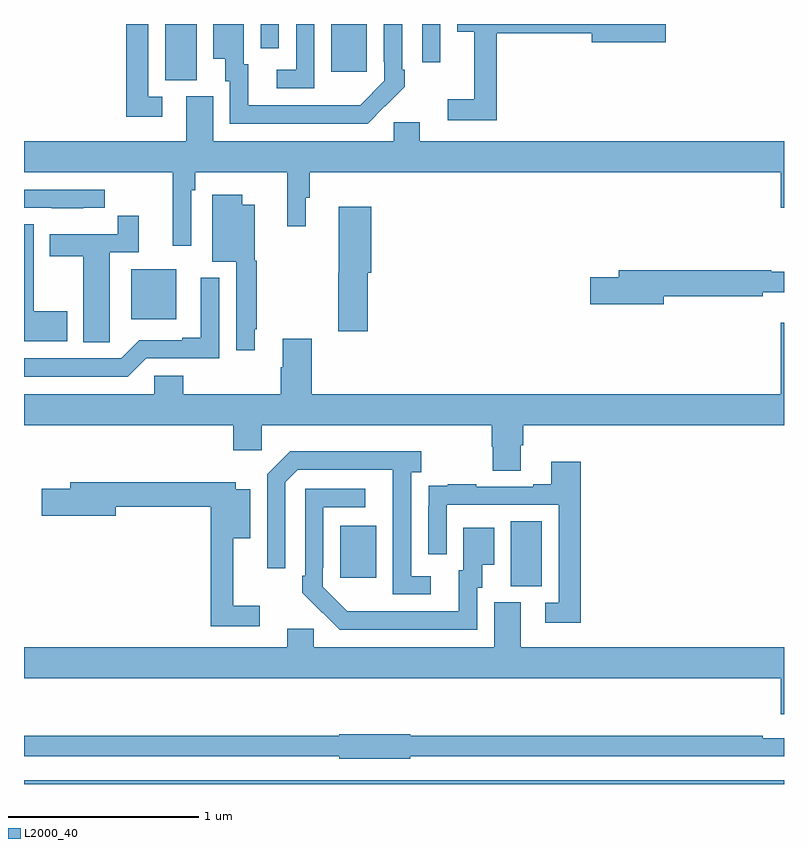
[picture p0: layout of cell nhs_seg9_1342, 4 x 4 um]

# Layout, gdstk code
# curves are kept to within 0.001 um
import gdstk
lib = gdstk.Library(unit=1e-6, precision=1e-09)
def R(c, l, rs):  # rectangles x0, y0, x1, y1
    for r in rs: c.add(gdstk.rectangle(r[:2], r[2:], *l))
def P(c, l, *ps):  # polygons
    for p in ps: c.add(gdstk.Polygon(p, *l))
L2000_40 = (2000, 40)

nhs_seg9_1342 = lib.new_cell('nhs_seg9_1342')
R(nhs_seg9_1342, L2000_40, [(185,1226.5,189,1226.52), (187.562,1227.541,187.726,1227.884), (186.665,1227.585,186.853,1227.859), (185.564,1228.946,185.8,1229.209), (185.744,1230.205,185.908,1230.5), (186.617,1230.249,186.805,1230.5), (187.095,1230.3,187.191,1230.5), (186.246,1230.372,186.342,1230.5)])
P(nhs_seg9_1342, L2000_40, [(185.728,1230.117),(185.655,1230.117),(185.655,1230.5),(185.539,1230.5),(185.539,1230.012),(185.728,1230.012)],
  [(186.899,1230.067),(186.9,1230.066),(187.005,1230.171),(187.005,1230.259),(186.99,1230.259),(186.99,1230.5),(186.894,1230.5),(186.894,1230.301),(186.897,1230.301),(186.897,1230.201),(186.769,1230.073),(186.665,1230.072),(186.181,1230.072),(186.181,1230.288),(186.157,1230.288),(186.157,1230.5),(185.996,1230.5),(185.996,1230.317),(186.059,1230.317),(186.059,1230.198),(186.084,1230.198),(186.084,1229.976),(186.808,1229.976)],
  [(186.528,1230.5),(186.432,1230.5),(186.432,1230.258),(186.33,1230.258),(186.33,1230.162),(186.528,1230.162)],
  [(187.487,1230.451),(187.988,1230.451),(187.988,1230.404),(188.377,1230.404),(188.377,1230.5),(187.28,1230.5),(187.28,1230.458),(187.37,1230.458),(187.37,1230.103),(187.23,1230.103),(187.23,1229.994),(187.487,1229.994)],
  [(185.88,1229.624),(185.9,1229.624),(185.9,1229.72),(186.385,1229.72),(186.385,1229.436),(186.484,1229.436),(186.484,1229.586),(186.503,1229.586),(186.503,1229.72),(188.984,1229.72),(188.984,1229.532),(189,1229.532),(189,1229.884),(187.084,1229.884),(187.084,1229.982),(186.945,1229.982),(186.945,1229.884),(185.995,1229.884),(185.995,1230.12),(185.855,1230.12),(185.855,1229.884),(185,1229.884),(185,1229.72),(185.783,1229.72),(185.783,1229.334),(185.88,1229.334)],
  [(185.312,1229.532),(185.425,1229.532),(185.425,1229.628),(185,1229.628),(185,1229.532),(185.146,1229.532),(185.146,1229.531),(185.312,1229.531)],
  [(186.214,1228.894),(186.226,1228.894),(186.226,1229.253),(186.214,1229.253),(186.214,1229.548),(186.148,1229.548),(186.148,1229.602),(185.99,1229.602),(185.99,1229.249),(186.117,1229.249),(186.117,1228.782),(186.214,1228.782)],
  [(186.809,1229.19),(186.827,1229.19),(186.827,1229.539),(186.656,1229.539),(186.656,1229.19),(186.655,1229.19),(186.655,1228.884),(186.809,1228.884)],
  [(185.451,1228.936),(185.452,1228.936),(185.452,1229.298),(185.603,1229.298),(185.603,1229.491),(185.494,1229.491),(185.494,1229.394),(185.135,1229.394),(185.135,1229.278),(185.312,1229.278),(185.312,1228.825),(185.451,1228.825)],
  [(185.227,1228.989),(185.05,1228.989),(185.05,1229.447),(185,1229.447),(185,1228.829),(185.227,1228.829)],
  [(188.368,1229.068),(188.888,1229.068),(188.888,1229.087),(189,1229.087),(189,1229.197),(188.933,1229.197),(188.933,1229.204),(188.129,1229.204),(188.129,1229.168),(187.98,1229.168),(187.98,1229.026),(188.368,1229.026)],
  [(185.643,1228.74),(186.027,1228.74),(186.027,1229.164),(185.93,1229.164),(185.93,1228.849),(185.834,1228.849),(185.834,1228.836),(185.607,1228.836),(185.511,1228.74),(185,1228.74),(185,1228.644),(185.547,1228.644)],
  [(185.837,1228.65),(185.685,1228.65),(185.685,1228.552),(185,1228.552),(185,1228.388),(186.101,1228.388),(186.101,1228.257),(186.252,1228.257),(186.252,1228.388),(187.463,1228.388),(187.463,1228.275),(187.468,1228.275),(187.468,1228.15),(187.615,1228.15),(187.615,1228.282),(187.628,1228.282),(187.628,1228.388),(189,1228.388),(189,1228.927),(188.984,1228.927),(188.984,1228.552),(186.515,1228.552),(186.515,1228.843),(186.362,1228.843),(186.362,1228.694),(186.35,1228.694),(186.35,1228.552),(185.837,1228.552)],
  [(187.141,1227.594),(187.038,1227.594),(187.038,1228.142),(187.09,1228.142),(187.09,1228.252),(186.4,1228.252),(186.279,1228.131),(186.279,1227.636),(186.375,1227.636),(186.375,1228.089),(186.441,1228.155),(186.941,1228.155),(186.942,1227.498),(187.141,1227.498)],
  [(187.931,1228.195),(187.775,1228.195),(187.775,1228.078),(187.679,1228.078),(187.679,1228.065),(187.379,1228.065),(187.379,1228.078),(187.231,1228.078),(187.231,1228.071),(187.129,1228.071),(187.129,1227.962),(187.128,1227.962),(187.128,1227.708),(187.224,1227.708),(187.224,1227.969),(187.815,1227.969),(187.815,1227.453),(187.743,1227.453),(187.743,1227.348),(187.931,1227.348)],
  [(186.241,1227.439),(186.101,1227.439),(186.101,1227.794),(186.19,1227.794),(186.19,1228.051),(186.114,1228.051),(186.114,1228.087),(185.243,1228.087),(185.243,1228.053),(185.094,1228.053),(185.094,1227.911),(185.482,1227.911),(185.482,1227.958),(185.983,1227.958),(185.983,1227.33),(186.241,1227.33)],
  [(187.386,1227.534),(187.411,1227.534),(187.411,1227.653),(187.474,1227.653),(187.474,1227.85),(187.313,1227.85),(187.313,1227.624),(187.289,1227.624),(187.289,1227.408),(186.702,1227.409),(186.573,1227.537),(186.573,1227.637),(186.576,1227.637),(186.576,1227.957),(186.796,1227.957),(186.796,1228.053),(186.48,1228.053),(186.48,1227.595),(186.465,1227.595),(186.465,1227.507),(186.662,1227.312),(187.386,1227.312)],
  [(189,1227.22),(187.615,1227.22),(187.615,1227.456),(187.475,1227.456),(187.475,1227.22),(186.525,1227.22),(186.525,1227.318),(186.386,1227.318),(186.386,1227.22),(185,1227.22),(185,1227.056),(188.984,1227.056),(188.984,1226.868),(189,1226.868)],
  [(187.032,1226.646),(189,1226.646),(189,1226.742),(188.888,1226.742),(188.888,1226.755),(187.032,1226.755),(187.032,1226.763),(186.66,1226.763),(186.66,1226.755),(185,1226.755),(185,1226.646),(186.66,1226.646),(186.66,1226.633),(187.032,1226.633)])

lib.write_gds('nhs_seg9_1342.gds')
